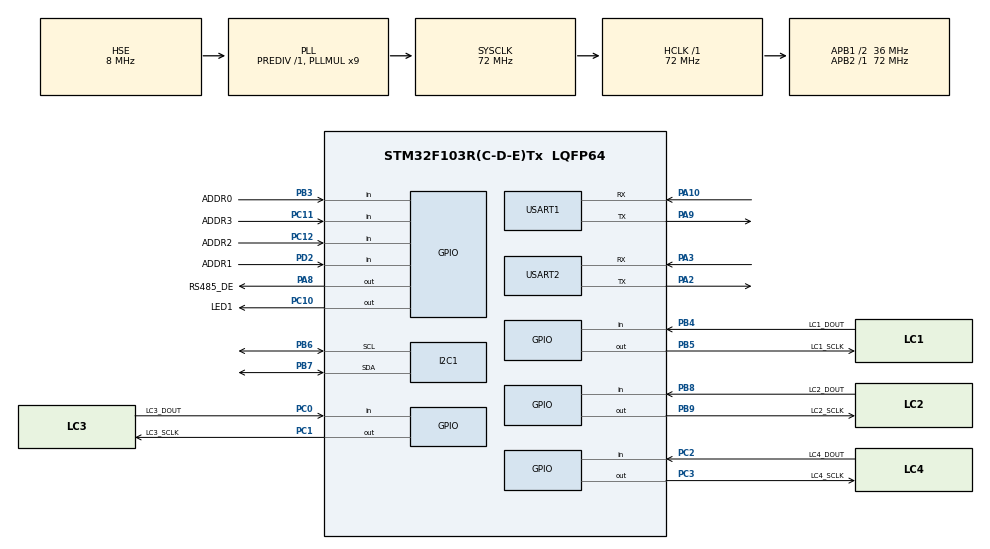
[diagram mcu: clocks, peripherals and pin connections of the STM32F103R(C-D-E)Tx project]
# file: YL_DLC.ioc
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Dma.Request0=USART2_RX
Dma.Request1=USART2_TX
Dma.Request2=USART1_RX
Dma.Request3=USART1_TX
Dma.USART1_RX.2.Direction=DMA_PERIPH_TO_MEMORY
Dma.USART1_RX.2.Instance=DMA1_Channel5
Dma.USART1_RX.2.MemDataAlignment=DMA_MDATAALIGN_BYTE
Dma.USART1_RX.2.MemInc=DMA_MINC_ENABLE
Dma.USART1_RX.2.Mode=DMA_NORMAL
Dma.USART1_RX.2.PeriphDataAlignment=DMA_PDATAALIGN_BYTE
Dma.USART1_RX.2.PeriphInc=DMA_PINC_DISABLE
Dma.USART1_RX.2.Priority=DMA_PRIORITY_LOW
Dma.USART1_TX.3.Direction=DMA_MEMORY_TO_PERIPH
Dma.USART1_TX.3.Instance=DMA1_Channel4
Dma.USART1_TX.3.MemDataAlignment=DMA_MDATAALIGN_BYTE
Dma.USART1_TX.3.MemInc=DMA_MINC_ENABLE
Dma.USART1_TX.3.Mode=DMA_NORMAL
Dma.USART1_TX.3.PeriphDataAlignment=DMA_PDATAALIGN_BYTE
Dma.USART1_TX.3.PeriphInc=DMA_PINC_DISABLE
Dma.USART1_TX.3.Priority=DMA_PRIORITY_LOW
Dma.USART2_RX.0.Direction=DMA_PERIPH_TO_MEMORY
Dma.USART2_RX.0.Instance=DMA1_Channel6
Dma.USART2_RX.0.MemDataAlignment=DMA_MDATAALIGN_BYTE
Dma.USART2_RX.0.MemInc=DMA_MINC_ENABLE
Dma.USART2_RX.0.Mode=DMA_NORMAL
Dma.USART2_RX.0.PeriphDataAlignment=DMA_PDATAALIGN_BYTE
Dma.USART2_RX.0.PeriphInc=DMA_PINC_DISABLE
Dma.USART2_RX.0.Priority=DMA_PRIORITY_MEDIUM
Dma.USART2_TX.1.Direction=DMA_MEMORY_TO_PERIPH
Dma.USART2_TX.1.Instance=DMA1_Channel7
Dma.USART2_TX.1.MemDataAlignment=DMA_MDATAALIGN_BYTE
Dma.USART2_TX.1.MemInc=DMA_MINC_ENABLE
Dma.USART2_TX.1.Mode=DMA_NORMAL
Dma.USART2_TX.1.PeriphDataAlignment=DMA_PDATAALIGN_BYTE
Dma.USART2_TX.1.PeriphInc=DMA_PINC_DISABLE
Dma.USART2_TX.1.Priority=DMA_PRIORITY_MEDIUM
FREERTOS.BinarySemaphores01=uart1BinarySem,Dynamic,NULL
FREERTOS.Tasks01=WeighProcess,0,128,WeighProcessTask,Default,NULL,Dynamic,NULL,NULL;Uart1_Process,-3,128,Uart1_ProcessTask,Default,NULL,Dynamic,NULL,NULL;Uart2_Process,-3,128,Uart2_ProcessTask,Default,NULL,Dynamic,NULL,NULL
FREERTOS.configTOTAL_HEAP_SIZE=4096
Mcu.Family=STM32F1
Mcu.Name=STM32F103R(C-D-E)Tx
Mcu.Package=LQFP64
NVIC.DMA1_Channel4_IRQn=true\:5\:0\:false\:false\:true\:true\:false
NVIC.DMA1_Channel5_IRQn=true\:5\:0\:false\:false\:true\:true\:false
NVIC.DMA1_Channel6_IRQn=true\:5\:0\:false\:false\:true\:true\:false
NVIC.DMA1_Channel7_IRQn=true\:5\:0\:false\:false\:true\:true\:false
NVIC.PriorityGroup=NVIC_PRIORITYGROUP_4
NVIC.TIM1_UP_IRQn=true\:0\:0\:false\:false\:true\:false\:false
NVIC.TimeBase=TIM1_UP_IRQn
NVIC.TimeBaseIP=TIM1
NVIC.USART1_IRQn=true\:5\:0\:false\:false\:true\:true\:true
NVIC.USART2_IRQn=true\:5\:0\:false\:false\:true\:true\:true
PA10.Mode=Asynchronous
PA10.Signal=USART1_RX
PA13.Mode=Serial_Wire
PA13.Signal=SYS_JTMS-SWDIO
PA14.Mode=Serial_Wire
PA14.Signal=SYS_JTCK-SWCLK
PA2.Mode=Asynchronous
PA2.Signal=USART2_TX
PA3.Mode=Asynchronous
PA3.Signal=USART2_RX
PA8.GPIO_Label=RS485_DE
PA8.Signal=GPIO_Output
PA9.Mode=Asynchronous
PA9.Signal=USART1_TX
PB3.GPIO_Label=ADDR0
PB3.Signal=GPIO_Input
PB4.GPIO_Label=LC1_DOUT
PB4.Signal=GPIO_Input
PB5.GPIO_Label=LC1_SCLK
PB5.Signal=GPIO_Output
PB6.Mode=I2C
PB6.Signal=I2C1_SCL
PB7.Mode=I2C
PB7.Signal=I2C1_SDA
PB8.GPIO_Label=LC2_DOUT
PB8.Signal=GPIO_Input
PB9.GPIO_Label=LC2_SCLK
PB9.Signal=GPIO_Output
PC0.GPIO_Label=LC3_DOUT
PC0.Signal=GPIO_Input
PC1.GPIO_Label=LC3_SCLK
PC1.Signal=GPIO_Output
PC10.GPIO_Label=LED1
PC10.Signal=GPIO_Output
PC11.GPIO_Label=ADDR3
PC11.Signal=GPIO_Input
PC12.GPIO_Label=ADDR2
PC12.Signal=GPIO_Input
PC2.GPIO_Label=LC4_DOUT
PC2.Signal=GPIO_Input
PC3.GPIO_Label=LC4_SCLK
PC3.Signal=GPIO_Output
PD0-OSC_IN.Mode=HSE-External-Oscillator
PD0-OSC_IN.Signal=RCC_OSC_IN
PD1-OSC_OUT.Mode=HSE-External-Oscillator
PD1-OSC_OUT.Signal=RCC_OSC_OUT
PD2.GPIO_Label=ADDR1
PD2.Signal=GPIO_Input
ProjectManager.HeapSize=0x400
ProjectManager.StackSize=0x800
ProjectManager.TargetToolchain=EWARM
RCC.AHBFreq_Value=72000000
RCC.APB1CLKDivider=RCC_HCLK_DIV2
RCC.APB1Freq_Value=36000000
RCC.APB1TimFreq_Value=72000000
RCC.APB2Freq_Value=72000000
RCC.APB2TimFreq_Value=72000000
RCC.HCLKFreq_Value=72000000
RCC.PLLMUL=RCC_PLL_MUL9
RCC.PLLSourceVirtual=RCC_PLLSOURCE_HSE
RCC.SYSCLKFreq_VALUE=72000000
RCC.SYSCLKSource=RCC_SYSCLKSOURCE_PLLCLK
RCC.USBFreq_Value=72000000
USART1.VirtualMode=VM_ASYNC
USART2.VirtualMode=VM_ASYNC
VP_FREERTOS_VS_ENABLE.Mode=Enabled
VP_SYS_VS_tim1.Mode=TIM1
board=YL_DLC

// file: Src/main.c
/**
  ******************************************************************************
  * @file           : main.c
  * @brief          : Main program body
  ******************************************************************************
  * This notice applies to any and all portions of this file
  * that are not between comment pairs USER CODE BEGIN and
  * USER CODE END. Other portions of this file, whether
  * inserted by the user or by software development tools
  * are owned by their respective copyright owners.
  *
  * Copyright (c) 2018 STMicroelectronics International N.V.
  * All rights reserved.
  *
  * Redistribution and use in source and binary forms, with or without
  * modification, are permitted, provided that the following conditions are met:
  *
  * 1. Redistribution of source code must retain the above copyright notice,
  *    this list of conditions and the following disclaimer.
  * 2. Redistributions in binary form must reproduce the above copyright notice,
  *    this list of conditions and the following disclaimer in the documentation
  *    and/or other materials provided with the distribution.
  * 3. Neither the name of STMicroelectronics nor the names of other
  *    contributors to this software may be used to endorse or promote products
  *    derived from this software without specific written permission.
  * 4. This software, including modifications and/or derivative works of this
  *    software, must execute solely and exclusively on microcontroller or
  *    microprocessor devices manufactured by or for STMicroelectronics.
  * 5. Redistribution and use of this software other than as permitted under
  *    this license is void and will automatically terminate your rights under
  *    this license.
  *
  * THIS SOFTWARE IS PROVIDED BY STMICROELECTRONICS AND CONTRIBUTORS "AS IS"
  * AND ANY EXPRESS, IMPLIED OR STATUTORY WARRANTIES, INCLUDING, BUT NOT
  * LIMITED TO, THE IMPLIED WARRANTIES OF MERCHANTABILITY, FITNESS FOR A
  * PARTICULAR PURPOSE AND NON-INFRINGEMENT OF THIRD PARTY INTELLECTUAL PROPERTY
  * RIGHTS ARE DISCLAIMED TO THE FULLEST EXTENT PERMITTED BY LAW. IN NO EVENT
  * SHALL STMICROELECTRONICS OR CONTRIBUTORS BE LIABLE FOR ANY DIRECT, INDIRECT,
  * INCIDENTAL, SPECIAL, EXEMPLARY, OR CONSEQUENTIAL DAMAGES (INCLUDING, BUT NOT
  * LIMITED TO, PROCUREMENT OF SUBSTITUTE GOODS OR SERVICES; LOSS OF USE, DATA,
  * OR PROFITS; OR BUSINESS INTERRUPTION) HOWEVER CAUSED AND ON ANY THEORY OF
  * LIABILITY, WHETHER IN CONTRACT, STRICT LIABILITY, OR TORT (INCLUDING
  * NEGLIGENCE OR OTHERWISE) ARISING IN ANY WAY OUT OF THE USE OF THIS SOFTWARE,
  * EVEN IF ADVISED OF THE POSSIBILITY OF SUCH DAMAGE.
  *
  ******************************************************************************
  */
#include "main.h"
#include "stm32f1xx_hal.h"
#include "cmsis_os.h"
#include "dma.h"
#include "i2c.h"
#include "usart.h"
#include "gpio.h"

/* USER CODE BEGIN Includes */

#include "scale.h"
#include "UserParam.h"

/* USER CODE END Includes */

/* USER CODE BEGIN PV */
/* Private variables ---------------------------------------------------------*/

SCALE g_ScaleData;
int adcconts = 0;

/* USER CODE END PV */

void SystemClock_Config(void);
void MX_FREERTOS_Init(void);

/* USER CODE BEGIN PFP */
/* Private function prototypes -----------------------------------------------*/

/* USER CODE END PFP */

/* USER CODE BEGIN 0 */

// delay
void delay_us(uint32_t Number)
{
    uint32_t i = 0;
    while(Number--)
    {
      i=12;
      while(i--);
    }
}

/* USER CODE END 0 */

int main(void)
{
  /* USER CODE BEGIN 1 */
  char tmpchar[21]={0};
  /* USER CODE END 1 */

  /* MCU Configuration----------------------------------------------------------*/

  /* Reset of all peripherals, Initializes the Flash interface and the Systick. */
  HAL_Init();

  /* Configure the system clock */
  SystemClock_Config();

  /* Initialize all configured peripherals */
  MX_GPIO_Init();
  MX_DMA_Init();
  MX_USART1_UART_Init();
  MX_I2C1_Init();
  MX_USART2_UART_Init();
  /* USER CODE BEGIN 2 */

  // 初始化 EEPROM SCALE 等
    USER_PARAM_Initialize();
    SendCom(1,"initscale\r\n",strlen("initscale\r\n"),0xffff);

    USER_PARAM_Get(BLK0_setupScaleName, (uint8_t *)tmpchar);
    if( 0!=strncmp("Scale 1",tmpchar,strlen("Scale 1")))
    {
       memset(tmpchar,0,sizeof(tmpchar));
       memcpy(tmpchar,"Scale 1",strlen("Scale 1"));
       USER_PARAM_Set(BLK0_setupScaleName, (uint8_t *)tmpchar);
       memcpy(g_ScaleData.scaleName,tmpchar,sizeof(tmpchar));
       InitScaleStruct(&g_ScaleData);
       ResetScaleParameters();
    }

    SCALE_Init(&g_ScaleData);
//    FilterReInit((g_ScaleData.filter), (g_ScaleData.jfilter));
    //filter init
    initialize_filter();
    StabilityFilterInit(25.0,0);
    reInitializeScaleParameters(&g_ScaleData,NORMAL_INIT);
  /* USER CODE END 2 */

  /* Call init function for freertos objects (in freertos.c) */
  MX_FREERTOS_Init();

  /* Start scheduler */
  osKernelStart();

  /* We should never get here as control is now taken by the scheduler */

  /* Infinite loop */
  while (1)
  {

  }

}

void SystemClock_Config(void)
{

  RCC_OscInitTypeDef RCC_OscInitStruct;
  RCC_ClkInitTypeDef RCC_ClkInitStruct;

    /**Initializes the CPU, AHB and APB busses clocks
    */
  RCC_OscInitStruct.OscillatorType = RCC_OSCILLATORTYPE_HSE;
  RCC_OscInitStruct.HSEState = RCC_HSE_ON;
  RCC_OscInitStruct.HSEPredivValue = RCC_HSE_PREDIV_DIV1;
  RCC_OscInitStruct.HSIState = RCC_HSI_ON;
  RCC_OscInitStruct.PLL.PLLState = RCC_PLL_ON;
  RCC_OscInitStruct.PLL.PLLSource = RCC_PLLSOURCE_HSE;
  RCC_OscInitStruct.PLL.PLLMUL = RCC_PLL_MUL9;
  if (HAL_RCC_OscConfig(&RCC_OscInitStruct) != HAL_OK)
  {
    _Error_Handler(__FILE__, __LINE__);
  }

    /**Initializes the CPU, AHB and APB busses clocks
    */
  RCC_ClkInitStruct.ClockType = RCC_CLOCKTYPE_HCLK|RCC_CLOCKTYPE_SYSCLK
                              |RCC_CLOCKTYPE_PCLK1|RCC_CLOCKTYPE_PCLK2;
  RCC_ClkInitStruct.SYSCLKSource = RCC_SYSCLKSOURCE_PLLCLK;
  RCC_ClkInitStruct.AHBCLKDivider = RCC_SYSCLK_DIV1;
  RCC_ClkInitStruct.APB1CLKDivider = RCC_HCLK_DIV2;
  RCC_ClkInitStruct.APB2CLKDivider = RCC_HCLK_DIV1;

  if (HAL_RCC_ClockConfig(&RCC_ClkInitStruct, FLASH_LATENCY_2) != HAL_OK)
  {
    _Error_Handler(__FILE__, __LINE__);
  }

    /**Configure the Systick interrupt time
    */
  HAL_SYSTICK_Config(HAL_RCC_GetHCLKFreq()/1000);

    /**Configure the Systick
    */
  HAL_SYSTICK_CLKSourceConfig(SYSTICK_CLKSOURCE_HCLK);

  /* SysTick_IRQn interrupt configuration */
  HAL_NVIC_SetPriority(SysTick_IRQn, 15, 0);
}

void HAL_TIM_PeriodElapsedCallback(TIM_HandleTypeDef *htim)
{
  if (htim->Instance == TIM1) {
    HAL_IncTick();
  }
}

void _Error_Handler(char *file, int line)
{
  while(1)
  {
  }
}

/************************ (C) COPYRIGHT STMicroelectronics *****END OF FILE****/

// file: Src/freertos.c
/**
  ******************************************************************************
  * File Name          : freertos.c
  * Description        : Code for freertos applications
  ******************************************************************************
  * This notice applies to any and all portions of this file
  * that are not between comment pairs USER CODE BEGIN and
  * USER CODE END. Other portions of this file, whether
  * inserted by the user or by software development tools
  * are owned by their respective copyright owners.
  *
  * Copyright (c) 2018 STMicroelectronics International N.V.
  * All rights reserved.
  *
  * Redistribution and use in source and binary forms, with or without
  * modification, are permitted, provided that the following conditions are met:
  *
  * 1. Redistribution of source code must retain the above copyright notice,
  *    this list of conditions and the following disclaimer.
  * 2. Redistributions in binary form must reproduce the above copyright notice,
  *    this list of conditions and the following disclaimer in the documentation
  *    and/or other materials provided with the distribution.
  * 3. Neither the name of STMicroelectronics nor the names of other
  *    contributors to this software may be used to endorse or promote products
  *    derived from this software without specific written permission.
  * 4. This software, including modifications and/or derivative works of this
  *    software, must execute solely and exclusively on microcontroller or
  *    microprocessor devices manufactured by or for STMicroelectronics.
  * 5. Redistribution and use of this software other than as permitted under
  *    this license is void and will automatically terminate your rights under
  *    this license.
  *
  * THIS SOFTWARE IS PROVIDED BY STMICROELECTRONICS AND CONTRIBUTORS "AS IS"
  * AND ANY EXPRESS, IMPLIED OR STATUTORY WARRANTIES, INCLUDING, BUT NOT
  * LIMITED TO, THE IMPLIED WARRANTIES OF MERCHANTABILITY, FITNESS FOR A
  * PARTICULAR PURPOSE AND NON-INFRINGEMENT OF THIRD PARTY INTELLECTUAL PROPERTY
  * RIGHTS ARE DISCLAIMED TO THE FULLEST EXTENT PERMITTED BY LAW. IN NO EVENT
  * SHALL STMICROELECTRONICS OR CONTRIBUTORS BE LIABLE FOR ANY DIRECT, INDIRECT,
  * INCIDENTAL, SPECIAL, EXEMPLARY, OR CONSEQUENTIAL DAMAGES (INCLUDING, BUT NOT
  * LIMITED TO, PROCUREMENT OF SUBSTITUTE GOODS OR SERVICES; LOSS OF USE, DATA,
  * OR PROFITS; OR BUSINESS INTERRUPTION) HOWEVER CAUSED AND ON ANY THEORY OF
  * LIABILITY, WHETHER IN CONTRACT, STRICT LIABILITY, OR TORT (INCLUDING
  * NEGLIGENCE OR OTHERWISE) ARISING IN ANY WAY OUT OF THE USE OF THIS SOFTWARE,
  * EVEN IF ADVISED OF THE POSSIBILITY OF SUCH DAMAGE.
  *
  ******************************************************************************
  */

#include "FreeRTOS.h"
#include "task.h"
#include "cmsis_os.h"

/* USER CODE BEGIN Includes */
#include <string.h>
#include "gpio.h"
#include "usart.h"
#include "CmdProcess.h"
#include "scale.h"
#include "ADS12xx.h"
#include "ADS1230.h"
#include "MyFilter.h"
/* USER CODE END Includes */

osThreadId WeighProcessHandle;
osThreadId Uart1_ProcessHandle;
osThreadId Uart2_ProcessHandle;

osSemaphoreId uart1BinarySemHandle;

/* USER CODE BEGIN Variables */

osThreadId ADC_ProcessHandle;
int32_t adcvalue1;
int32_t adcvalue2;
int32_t sumvalue;
double dFilerAdcValue;
double sFilerAdcValue;
//strFiltertype FisrtFilter;
/* USER CODE END Variables */

void WeighProcessTask(void const * argument);
void Uart1_ProcessTask(void const * argument);
void Uart2_ProcessTask(void const * argument);

void MX_FREERTOS_Init(void); /* (MISRA C 2004 rule 8.1) */

/* USER CODE BEGIN FunctionPrototypes */
void ADC_ProcessTask(void const * argument);

extern void FreshRegArry();
extern int  ModbusRTU_Process( int com, unsigned char * rebuf,int receivelenth );//接收解析帧头程序
/* USER CODE END FunctionPrototypes */

/* Hook prototypes */

/* Init FreeRTOS */

void MX_FREERTOS_Init(void) {

  /* Create the semaphores(s) */
  /* definition and creation of uart1BinarySem */
  osSemaphoreDef(uart1BinarySem);
  uart1BinarySemHandle = osSemaphoreCreate(osSemaphore(uart1BinarySem), 1);

  /* Create the thread(s) */
  /* definition and creation of WeighProcess */
  osThreadDef(WeighProcess, WeighProcessTask, osPriorityNormal, 0, 128);
  WeighProcessHandle = osThreadCreate(osThread(WeighProcess), NULL);

  /* definition and creation of Uart1_Process */
  osThreadDef(Uart1_Process, Uart1_ProcessTask, osPriorityIdle, 0, 128);
  Uart1_ProcessHandle = osThreadCreate(osThread(Uart1_Process), NULL);

  /* definition and creation of Uart2_Process */
  osThreadDef(Uart2_Process, Uart2_ProcessTask, osPriorityIdle, 0, 128);
  Uart2_ProcessHandle = osThreadCreate(osThread(Uart2_Process), NULL);

  osThreadDef(ADC_Process, ADC_ProcessTask, osPriorityIdle, 0, 128);
  Uart2_ProcessHandle = osThreadCreate(osThread(ADC_Process), NULL);
}

/* WeighProcessTask function */
void WeighProcessTask(void const * argument)
{

  /* USER CODE BEGIN WeighProcessTask */
  double filteredCounts;
  double stabfilercounts;
  int runtime;
  /* Infinite loop */
  for(;;)
  {
     filteredCounts = dFilerAdcValue;
     stabfilercounts = FilterWeight(&filteredCounts);
     sFilerAdcValue = stabfilercounts;
    SCALE_PostProcess(&g_ScaleData, (long)stabfilercounts);
    runtime++;
    if(runtime==10)
    {
     HAL_GPIO_TogglePin(LED1_GPIO_Port, LED1_Pin);
     runtime = 0;
    }

    osDelay(100); //10HZ
  }
  /* USER CODE END WeighProcessTask */
}

/* Uart1_ProcessTask function */
void Uart1_ProcessTask(void const * argument)
{
  /* USER CODE BEGIN Uart1_ProcessTask */
  /* Infinite loop */
  for(;;)
  {
    FreshRegArry();
    if(usart1_rx_flag == 1)  // 接受有数据
    {

        ModbusRTU_Process(0, usart1_rx_FIFO,usart1_rx_len);
        usart1_rx_flag = 0;
        memset(usart1_rx_FIFO,0,1024);
    }
    osDelay(10);
  }
  /* USER CODE END Uart1_ProcessTask */
}

/* Uart2_ProcessTask function */
void Uart2_ProcessTask(void const * argument)
{
  /* USER CODE BEGIN Uart2_ProcessTask */
  /* Infinite loop */
  for(;;)
  {

       if(usart2_rx_flag == 1)  // 接受有数据
      {
          usart2_rx_flag = 0;
          SetCmdProcess((char*)usart2_rx_FIFO,SetCmdArry);
          memset(usart2_rx_FIFO,0,1024);

      }

    osDelay(20);
  }
  /* USER CODE END Uart2_ProcessTask */
}

/* USER CODE BEGIN Application */

/* ADC_ProcessTask function */
void ADC_ProcessTask(void const * argument)
{
  /* USER CODE BEGIN ADC_ProcessTask */
  // read adc
   bool adc1flag1 = false;
   bool adc1flag2 = false;
//   int readtimes = 0;
//   int sumfilter = 0;
//   memset(&FisrtFilter,0,sizeof(FisrtFilter));
//   FisrtFilter.headpt = FILTER_BUF_NUM-1;
  /* Infinite loop */
  for(;;)
  {
    if(ADS1_DATA_READY == 0)
    {
      adcvalue1 = ReadADS1230Value1();
      adc1flag1 = true;
    }
    if(ADS2_DATA_READY == 0)
    {
      adcvalue2 = ReadADS1230Value2();
      adc1flag2 = true;
    }

    if(adc1flag1&adc1flag2)
    {
//       readtimes++;
       sumvalue = (int)(adcvalue1 + g_ScaleData.adjutk2*adcvalue2+2000);
//       sumfilter +=  CountsFilter(&FisrtFilter,sumvalue);
//      if(readtimes == 64)
//      {
//         sumfilter >>=3;
//         readtimes = 0;
//         dFilerAdcValue = sumfilter;
//         sumfilter = 0;
//
//      }

      dFilerAdcValue = execute_filter(sumvalue);
//      dFilerAdcValue =  CountsFilter(strFiltertype *PFilter,int32_t adcvalue)
//      stabfilercounts = dFilerAdcValue;

      adc1flag1 = false;
      adc1flag2 = false;
    }

    osDelay(10);
  }
  /* USER CODE END ADC_ProcessTask */
}

/* USER CODE END Application */

/************************ (C) COPYRIGHT STMicroelectronics *****END OF FILE****/
